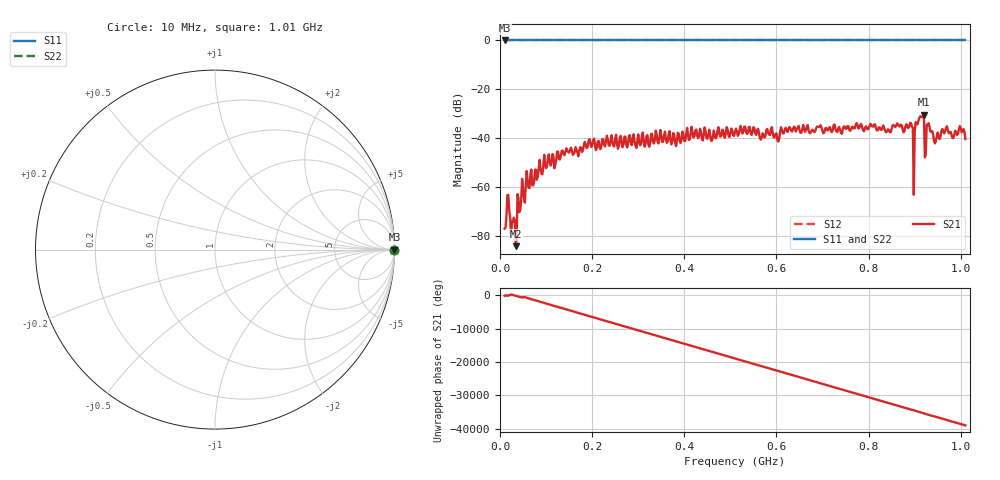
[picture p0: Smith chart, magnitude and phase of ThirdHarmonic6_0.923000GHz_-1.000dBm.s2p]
! 8/16/2025 6:08:33 AM
! C:\ANRITSUVNA\TEMP\TEMP.S2P
! CHANNEL.1
! TR.MEASUREMENT
! RAW.DATA
! RF.CORRECTION.OFF
! AVERAGING.OFF
! IF.BANDWIDTH: 5KHZ
! SWEEPTYPE:  FREQ.SWEEP(Linear)
! Reference Plane Port Info
! PORT:  PORT1  PORT2
! DISTANCE:  0  m  0  m
! TIME:  0  s  0  s
! PHASE.OFFSET:  0  deg.  0  deg.
! LOSS:  0  dB  0  dB
! REF.LOSS:  0  dB  0  dB
! REF.FREQ:  0  Hz  0  Hz
! Power Info
! POWER:  -20  dBm  -20  dBm
! EFF.POWER:  -20  dBm  -20  dBm
! SOURCE.ATTEN:  0  dB  0  dB
! TEST.ATTEN:  0  dB  0  dB
# GHZ S RI R 50.0
! FREQ.GHZ  S11RE  S11IM  S21RE  S21IM  S12RE  S12IM  S22RE  S22IM
!; PortSelection: Port_12
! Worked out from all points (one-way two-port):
!   501 points, 10 MHz to 1.01 GHz, reference 50 ohm
!   highest |S21| = -30.37 dB at 920 MHz (marker M1); lowest = -84.1 dB at 34 MHz (marker M2)
!   lowest |S11| = 0.0 dB at 10 MHz (marker M3)
!   |S11| at or under -10 dB: nowhere
!   |S22| runs from 0.0 to 0.0 dB; largest |S21 - S12| = 1
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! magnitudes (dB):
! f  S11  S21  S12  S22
! 10 MHz  0.0  -76.9  0.0  0.0
! 18 MHz  0.0  -63.1  0.0  0.0
! 24 MHz  0.0  -80.1  0.0  0.0
! 34 MHz  0.0  -84.1  0.0  0.0
! 44 MHz  0.0  -69.2  0.0  0.0
! 62 MHz  0.0  -60.2  0.0  0.0
! 110 MHz  0.0  -51.1  0.0  0.0
! 178 MHz  0.0  -45.6  0.0  0.0
! 344 MHz  0.0  -42.1  0.0  0.0
! 510 MHz  0.0  -37.4  0.0  0.0
! 678 MHz  0.0  -36.4  0.0  0.0
! 844 MHz  0.0  -36.5  0.0  0.0
! 892 MHz  0.0  -33.8  0.0  0.0
! 894 MHz  0.0  -35.3  0.0  0.0
! 898 MHz  0.0  -63.1  0.0  0.0
! 902 MHz  0.0  -33.4  0.0  0.0
! 904 MHz  0.0  -34.2  0.0  0.0
! 916 MHz  0.0  -31.4  0.0  0.0
! 920 MHz  0.0  -30.4  0.0  0.0
! 930 MHz  0.0  -33.8  0.0  0.0
! 944 MHz  0.0  -42.1  0.0  0.0
! 1.01 GHz  0.0  -40.3  0.0  0.0
